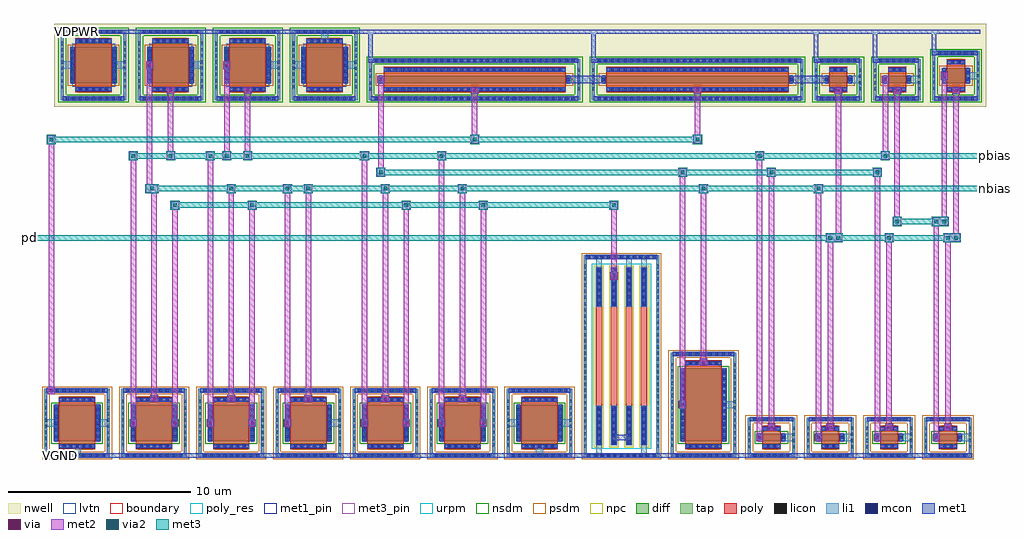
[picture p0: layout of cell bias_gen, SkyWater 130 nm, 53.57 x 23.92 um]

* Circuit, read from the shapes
.subckt bias_gen VDPWR VGND nbias pbias pd
XM1 VGND VGND VGND VGND sky130_fd_pr__nfet_01v8 w=2 l=2 m=2
XM2 sky130_fd_pr__res_xhigh_po_0p35_F43QJC_7/R1_1 nbias pbias VGND sky130_fd_pr__nfet_01v8 w=2 l=2 m=4
XM3 VGND nbias nbias VGND sky130_fd_pr__nfet_01v8 w=2 l=2
XM4 VGND nbias sky130_fd_pr__nfet_01v8_7KUJPP_11/D VGND sky130_fd_pr__nfet_01v8 w=4 l=2
XM5 VGND sky130_fd_pr__nfet_01v8_7KUJPP_11/D pbias VGND sky130_fd_pr__nfet_01v8 w=0.42 l=1
XM6 VGND pd nbias VGND sky130_fd_pr__nfet_01v8 w=0.42 l=1
XM7 VGND pd sky130_fd_pr__nfet_01v8_7KUJPP_11/D VGND sky130_fd_pr__nfet_01v8 w=0.42 l=1
XM8 VGND pd sky130_fd_pr__nfet_01v8_7KUJPP_10/D VGND sky130_fd_pr__nfet_01v8 w=0.42 l=1
XM9 VDPWR VDPWR VDPWR VDPWR sky130_fd_pr__pfet_01v8_lvt w=2 l=2 m=2
XM10 VDPWR pbias nbias VDPWR sky130_fd_pr__pfet_01v8_lvt w=2 l=2
XM11 VDPWR pbias pbias VDPWR sky130_fd_pr__pfet_01v8_lvt w=2 l=2
XM12 sky130_fd_pr__pfet_01v8_AWJHST_18/D VGND sky130_fd_pr__nfet_01v8_7KUJPP_11/D VDPWR sky130_fd_pr__pfet_01v8 w=0.42 l=10
XM13 sky130_fd_pr__pfet_01v8_3Q3RWC_21/D VGND sky130_fd_pr__pfet_01v8_AWJHST_18/D VDPWR sky130_fd_pr__pfet_01v8 w=0.42 l=10
XM14 VDPWR pd sky130_fd_pr__pfet_01v8_3Q3RWC_21/D VDPWR sky130_fd_pr__pfet_01v8 w=0.42 l=1
XM15 VDPWR sky130_fd_pr__nfet_01v8_7KUJPP_10/D pbias VDPWR sky130_fd_pr__pfet_01v8 w=0.42 l=1
XM16 VDPWR pd sky130_fd_pr__nfet_01v8_7KUJPP_10/D VDPWR sky130_fd_pr__pfet_01v8 w=0.84 l=1
XR17 VGND VGND VGND sky130_fd_pr__res_xhigh_po w=0.35 l=5.49 m=2
XR18 sky130_fd_pr__res_xhigh_po_0p35_F43QJC_7/R1_1 sky130_fd_pr__res_xhigh_po_0p35_F43QJC_7/R2_1 VGND sky130_fd_pr__res_xhigh_po w=0.35 l=5.49
XR19 VGND sky130_fd_pr__res_xhigh_po_0p35_F43QJC_7/R2_1 VGND sky130_fd_pr__res_xhigh_po w=0.35 l=5.49
.ends

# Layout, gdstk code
import gdstk
lib = gdstk.Library(unit=1e-6, precision=1e-09)
def R(c, l, rs):  # rectangles x0, y0, x1, y1
    for r in rs: c.add(gdstk.rectangle(r[:2], r[2:], *l))
def A(c, l, x, y, w, h, nx, ny, dx, dy):  # array of equal rectangles
    R(c, l, [(x+i*dx, y+j*dy, x+i*dx+w, y+j*dy+h) for i in range(nx) for j in range(ny)])
nwell = (64, 20)
diff = (65, 20)
tap = (65, 44)
poly_res = (66, 13)
poly = (66, 20)
licon = (66, 44)
li1 = (67, 20)
mcon = (67, 44)
met1_pin = (68, 16)
met1 = (68, 20)
via = (68, 44)
met2 = (69, 20)
via2 = (69, 44)
met3_pin = (70, 16)
met3 = (70, 20)
urpm = (79, 20)
nsdm = (93, 44)
psdm = (94, 20)
npc = (95, 20)
lvtn = (125, 44)
boundary = (235, 4)

sky130_fd_pr__nfet_01v8_ = lib.new_cell('sky130_fd_pr__nfet_01v8_BU9NKT')
R(sky130_fd_pr__nfet_01v8_, diff, [(-1.29,-1,1.29,1)])
R(sky130_fd_pr__nfet_01v8_, tap, [(-1.8,-1.87,1.8,-1.7), (-1.8,-1.7,-1.63,1.7), (1.63,-1.7,1.8,1.7), (-1.8,1.7,1.8,1.87)])
R(sky130_fd_pr__nfet_01v8_, poly, [(-1,-1.44,1,1.44)])
A(sky130_fd_pr__nfet_01v8_, licon, -1.275, -1.87, 0.17, 0.17, 8, 2, 0.34, 3.57)
A(sky130_fd_pr__nfet_01v8_, licon, -0.765, -1.36, 0.17, 0.17, 5, 2, 0.34, 2.55)
A(sky130_fd_pr__nfet_01v8_, licon, -1.8, -1.275, 0.17, 0.17, 1, 8, 0, 0.34)
A(sky130_fd_pr__nfet_01v8_, licon, 1.63, -1.275, 0.17, 0.17, 1, 8, 0, 0.34)
A(sky130_fd_pr__nfet_01v8_, licon, -1.23, -0.935, 0.17, 0.17, 1, 6, 0, 0.34)
A(sky130_fd_pr__nfet_01v8_, licon, 1.06, -0.935, 0.17, 0.17, 1, 6, 0, 0.34)
R(sky130_fd_pr__nfet_01v8_, li1, [(-1.8,-1.87,1.8,-1.7), (-1.8,-1.7,-1.63,1.7), (1.63,-1.7,1.8,1.7), (-1,-1.36,1,-1.19), (-1.23,-1.02,-1.06,1.02), (1.06,-1.02,1.23,1.02), (-1,1.19,1,1.36), (-1.8,1.7,1.8,1.87)])
A(sky130_fd_pr__nfet_01v8_, mcon, -1.525, -1.87, 0.17, 0.17, 9, 2, 0.36, 3.57)
A(sky130_fd_pr__nfet_01v8_, mcon, -0.805, -1.36, 0.17, 0.17, 5, 2, 0.36, 2.55)
A(sky130_fd_pr__nfet_01v8_, mcon, -1.23, -0.805, 0.17, 0.17, 1, 5, 0, 0.36)
A(sky130_fd_pr__nfet_01v8_, mcon, 1.06, -0.805, 0.17, 0.17, 1, 5, 0, 0.36)
R(sky130_fd_pr__nfet_01v8_, met1, [(-1.69,-1.9,1.69,-1.67), (-0.98,-1.39,0.98,-1.16), (-1.26,-1,-1.03,1), (1.03,-1,1.26,1), (-0.98,1.16,0.98,1.39), (-1.69,1.67,1.69,1.9)])
R(sky130_fd_pr__nfet_01v8_, nsdm, [(-1.415,-1.125,1.415,1.125)])
R(sky130_fd_pr__nfet_01v8_, psdm, [(-1.925,-1.995,1.925,-1.575), (-1.925,-1.575,-1.505,1.575), (1.505,-1.575,1.925,1.575), (-1.925,1.575,1.925,1.995)])
R(sky130_fd_pr__nfet_01v8_, npc, [(-0.865,-1.46,0.865,-1.09), (-0.865,1.09,0.865,1.46)])
R(sky130_fd_pr__nfet_01v8_, boundary, [(-1.715,-1.785,1.715,1.785)])
sky130_fd_pr__nfet_01v8_.add(gdstk.Label('B', (0,-1.785), layer=67, texttype=5))
sky130_fd_pr__nfet_01v8_.add(gdstk.Label('D', (-1.145,0), layer=67, texttype=5))
sky130_fd_pr__nfet_01v8_.add(gdstk.Label('S', (1.145,0), layer=67, texttype=5))
sky130_fd_pr__nfet_01v8_.add(gdstk.Label('G', (0,1.275), layer=67, texttype=5))

sky130_fd_pr__res_xhigh_ = lib.new_cell('sky130_fd_pr__res_xhigh_po_0p35_F43QJC')
R(sky130_fd_pr__res_xhigh_, tap, [(-2.07,-5.535,2.07,-5.365), (-2.07,-5.365,-1.9,5.365), (1.9,-5.365,2.07,5.365), (-2.07,5.365,2.07,5.535)])
A(sky130_fd_pr__res_xhigh_, poly_res, -1.42, -2.805, 0.35, 5.61, 4, 1, 0.83, 0)
A(sky130_fd_pr__res_xhigh_, poly, -1.42, -4.885, 0.35, 9.77, 4, 1, 0.83, 0)
A(sky130_fd_pr__res_xhigh_, licon, -1.445, -5.535, 0.17, 0.17, 9, 2, 0.34, 10.9)
A(sky130_fd_pr__res_xhigh_, licon, -2.07, -5.015, 0.17, 0.17, 1, 30, 0, 0.34)
A(sky130_fd_pr__res_xhigh_, licon, 1.9, -5.015, 0.17, 0.17, 1, 30, 0, 0.34)
A(sky130_fd_pr__res_xhigh_, licon, -1.34, -4.805, 0.19, 2, 4, 2, 0.83, 7.61)
A(sky130_fd_pr__res_xhigh_, li1, -1.42, -4.885, 0.35, 2.16, 4, 2, 0.83, 7.61)
R(sky130_fd_pr__res_xhigh_, li1, [(-2.07,-5.535,2.07,-5.365), (-2.07,-5.365,-1.9,5.365), (1.9,-5.365,2.07,5.365), (-2.07,5.365,2.07,5.535)])
A(sky130_fd_pr__res_xhigh_, mcon, -1.885, -5.535, 0.17, 0.17, 11, 2, 0.36, 10.9)
A(sky130_fd_pr__res_xhigh_, mcon, -1.33, -4.79, 0.17, 0.17, 4, 6, 0.83, 0.36)
A(sky130_fd_pr__res_xhigh_, mcon, -1.33, 2.815, 0.17, 0.17, 4, 6, 0.83, 0.36)
A(sky130_fd_pr__res_xhigh_, met1, -1.37, -4.855, 0.25, 2.105, 4, 2, 0.83, 7.605)
R(sky130_fd_pr__res_xhigh_, met1, [(-1.96,-5.565,1.96,-5.335), (-1.96,5.335,1.96,5.565)])
R(sky130_fd_pr__res_xhigh_, urpm, [(-1.62,-5.085,1.62,5.085)])
R(sky130_fd_pr__res_xhigh_, psdm, [(-2.195,-5.66,2.195,5.66)])
A(sky130_fd_pr__res_xhigh_, npc, -1.515, -4.98, 0.54, 9.96, 4, 1, 0.83, 0)
R(sky130_fd_pr__res_xhigh_, boundary, [(-1.985,-5.45,1.985,5.45)])
sky130_fd_pr__res_xhigh_.add(gdstk.Label('B', (0,-5.45), layer=67, texttype=5))
sky130_fd_pr__res_xhigh_.add(gdstk.Label('R1_0', (-1.245,4.71), layer=67, texttype=5))
sky130_fd_pr__res_xhigh_.add(gdstk.Label('R2_0', (-1.245,-4.71), layer=67, texttype=5))
sky130_fd_pr__res_xhigh_.add(gdstk.Label('R1_1', (-0.415,4.71), layer=67, texttype=5))
sky130_fd_pr__res_xhigh_.add(gdstk.Label('R2_1', (-0.415,-4.71), layer=67, texttype=5))
sky130_fd_pr__res_xhigh_.add(gdstk.Label('R1_2', (0.415,4.71), layer=67, texttype=5))
sky130_fd_pr__res_xhigh_.add(gdstk.Label('R2_2', (0.415,-4.71), layer=67, texttype=5))
sky130_fd_pr__res_xhigh_.add(gdstk.Label('R1_3', (1.245,4.71), layer=67, texttype=5))
sky130_fd_pr__res_xhigh_.add(gdstk.Label('R2_3', (1.245,-4.71), layer=67, texttype=5))

c_sky130_fd_pr__nfet_01v8_ = lib.new_cell('sky130_fd_pr__nfet_01v8_SP2VZH')
R(c_sky130_fd_pr__nfet_01v8_, diff, [(-1.29,-2,1.29,2)])
R(c_sky130_fd_pr__nfet_01v8_, tap, [(-1.8,-2.87,1.8,-2.7), (-1.8,-2.7,-1.63,2.7), (1.63,-2.7,1.8,2.7), (-1.8,2.7,1.8,2.87)])
R(c_sky130_fd_pr__nfet_01v8_, poly, [(-1,-2.44,1,2.44)])
A(c_sky130_fd_pr__nfet_01v8_, licon, -1.275, -2.87, 0.17, 0.17, 8, 2, 0.34, 5.57)
A(c_sky130_fd_pr__nfet_01v8_, licon, -0.765, -2.36, 0.17, 0.17, 5, 2, 0.34, 4.55)
A(c_sky130_fd_pr__nfet_01v8_, licon, -1.8, -2.295, 0.17, 0.17, 1, 14, 0, 0.34)
A(c_sky130_fd_pr__nfet_01v8_, licon, 1.63, -2.295, 0.17, 0.17, 1, 14, 0, 0.34)
A(c_sky130_fd_pr__nfet_01v8_, licon, -1.23, -1.785, 0.17, 0.17, 1, 11, 0, 0.34)
A(c_sky130_fd_pr__nfet_01v8_, licon, 1.06, -1.785, 0.17, 0.17, 1, 11, 0, 0.34)
R(c_sky130_fd_pr__nfet_01v8_, li1, [(-1.8,-2.87,1.8,-2.7), (-1.8,-2.7,-1.63,2.7), (1.63,-2.7,1.8,2.7), (-1,-2.36,1,-2.19), (-1.23,-2.02,-1.06,2.02), (1.06,-2.02,1.23,2.02), (-1,2.19,1,2.36), (-1.8,2.7,1.8,2.87)])
A(c_sky130_fd_pr__nfet_01v8_, mcon, -1.525, -2.87, 0.17, 0.17, 9, 2, 0.36, 5.57)
A(c_sky130_fd_pr__nfet_01v8_, mcon, -0.805, -2.36, 0.17, 0.17, 5, 2, 0.36, 4.55)
A(c_sky130_fd_pr__nfet_01v8_, mcon, -1.23, -1.885, 0.17, 0.17, 1, 11, 0, 0.36)
A(c_sky130_fd_pr__nfet_01v8_, mcon, 1.06, -1.885, 0.17, 0.17, 1, 11, 0, 0.36)
R(c_sky130_fd_pr__nfet_01v8_, met1, [(-1.69,-2.9,1.69,-2.67), (-0.98,-2.39,0.98,-2.16), (-1.26,-2,-1.03,2), (1.03,-2,1.26,2), (-0.98,2.16,0.98,2.39), (-1.69,2.67,1.69,2.9)])
R(c_sky130_fd_pr__nfet_01v8_, nsdm, [(-1.415,-2.125,1.415,2.125)])
R(c_sky130_fd_pr__nfet_01v8_, psdm, [(-1.925,-2.995,1.925,-2.575), (-1.925,-2.575,-1.505,2.575), (1.505,-2.575,1.925,2.575), (-1.925,2.575,1.925,2.995)])
R(c_sky130_fd_pr__nfet_01v8_, npc, [(-0.865,-2.46,0.865,-2.09), (-0.865,2.09,0.865,2.46)])
R(c_sky130_fd_pr__nfet_01v8_, boundary, [(-1.715,-2.785,1.715,2.785)])
c_sky130_fd_pr__nfet_01v8_.add(gdstk.Label('B', (0,-2.785), layer=67, texttype=5))
c_sky130_fd_pr__nfet_01v8_.add(gdstk.Label('D', (-1.145,0), layer=67, texttype=5))
c_sky130_fd_pr__nfet_01v8_.add(gdstk.Label('S', (1.145,0), layer=67, texttype=5))
c_sky130_fd_pr__nfet_01v8_.add(gdstk.Label('G', (0,2.275), layer=67, texttype=5))

c_sky130_fd_pr__nfet_01v8__ = lib.new_cell('sky130_fd_pr__nfet_01v8_7KUJPP')
R(c_sky130_fd_pr__nfet_01v8__, diff, [(-0.79,-0.21,0.79,0.21)])
R(c_sky130_fd_pr__nfet_01v8__, tap, [(-1.3,-1.08,1.3,-0.91), (-1.3,-0.91,-1.13,0.91), (1.13,-0.91,1.3,0.91), (-1.3,0.91,1.3,1.08)])
R(c_sky130_fd_pr__nfet_01v8__, poly, [(-0.5,-0.65,0.5,0.65)])
A(c_sky130_fd_pr__nfet_01v8__, licon, -0.765, -1.08, 0.17, 0.17, 5, 2, 0.34, 1.99)
A(c_sky130_fd_pr__nfet_01v8__, licon, -1.3, -0.595, 0.17, 0.17, 1, 4, 0, 0.34)
A(c_sky130_fd_pr__nfet_01v8__, licon, 1.13, -0.595, 0.17, 0.17, 1, 4, 0, 0.34)
R(c_sky130_fd_pr__nfet_01v8__, licon, [(-0.255,-0.57,-0.085,-0.4), (0.085,-0.57,0.255,-0.4), (-0.73,-0.085,-0.56,0.085), (0.56,-0.085,0.73,0.085), (-0.255,0.4,-0.085,0.57), (0.085,0.4,0.255,0.57)])
R(c_sky130_fd_pr__nfet_01v8__, li1, [(-1.3,-1.08,1.3,-0.91), (-1.3,-0.91,-1.13,0.91), (1.13,-0.91,1.3,0.91), (-0.5,-0.57,0.5,-0.4), (-0.73,-0.23,-0.56,0.23), (0.56,-0.23,0.73,0.23), (-0.5,0.4,0.5,0.57), (-1.3,0.91,1.3,1.08)])
A(c_sky130_fd_pr__nfet_01v8__, mcon, -0.985, -1.08, 0.17, 0.17, 6, 2, 0.36, 1.99)
R(c_sky130_fd_pr__nfet_01v8__, mcon, [(-0.265,-0.57,-0.095,-0.4), (0.095,-0.57,0.265,-0.4), (-0.73,-0.085,-0.56,0.085), (0.56,-0.085,0.73,0.085), (-0.265,0.4,-0.095,0.57), (0.095,0.4,0.265,0.57)])
R(c_sky130_fd_pr__nfet_01v8__, met1, [(-1.19,-1.11,1.19,-0.88), (-0.48,-0.6,0.48,-0.37), (-0.76,-0.21,-0.53,0.21), (0.53,-0.21,0.76,0.21), (-0.48,0.37,0.48,0.6), (-1.19,0.88,1.19,1.11)])
R(c_sky130_fd_pr__nfet_01v8__, nsdm, [(-0.915,-0.335,0.915,0.335)])
R(c_sky130_fd_pr__nfet_01v8__, psdm, [(-1.425,-1.205,1.425,-0.785), (-1.425,-0.785,-1.005,0.785), (1.005,-0.785,1.425,0.785), (-1.425,0.785,1.425,1.205)])
R(c_sky130_fd_pr__nfet_01v8__, npc, [(-0.355,-0.67,0.355,-0.3), (-0.355,0.3,0.355,0.67)])
R(c_sky130_fd_pr__nfet_01v8__, boundary, [(-1.215,-0.995,1.215,0.995)])
c_sky130_fd_pr__nfet_01v8__.add(gdstk.Label('B', (0,-0.995), layer=67, texttype=5))
c_sky130_fd_pr__nfet_01v8__.add(gdstk.Label('D', (-0.645,0), layer=67, texttype=5))
c_sky130_fd_pr__nfet_01v8__.add(gdstk.Label('S', (0.645,0), layer=67, texttype=5))
c_sky130_fd_pr__nfet_01v8__.add(gdstk.Label('G', (0,0.485), layer=67, texttype=5))

sky130_fd_pr__pfet_01v8_ = lib.new_cell('sky130_fd_pr__pfet_01v8_lvt_TFSLRA')
R(sky130_fd_pr__pfet_01v8_, nwell, [(-1.98,-2.095,1.98,2.095)])
R(sky130_fd_pr__pfet_01v8_, diff, [(-1.29,-1,1.29,1)])
R(sky130_fd_pr__pfet_01v8_, tap, [(-1.8,-1.915,1.8,-1.745), (-1.8,-1.745,-1.63,1.745), (1.63,-1.745,1.8,1.745), (-1.8,1.745,1.8,1.915)])
R(sky130_fd_pr__pfet_01v8_, poly, [(-1,-1.485,1,1.485)])
A(sky130_fd_pr__pfet_01v8_, licon, -1.275, -1.915, 0.17, 0.17, 8, 2, 0.34, 3.66)
A(sky130_fd_pr__pfet_01v8_, licon, -0.765, -1.405, 0.17, 0.17, 5, 2, 0.34, 2.64)
A(sky130_fd_pr__pfet_01v8_, licon, -1.8, -1.275, 0.17, 0.17, 1, 8, 0, 0.34)
A(sky130_fd_pr__pfet_01v8_, licon, 1.63, -1.275, 0.17, 0.17, 1, 8, 0, 0.34)
A(sky130_fd_pr__pfet_01v8_, licon, -1.23, -0.935, 0.17, 0.17, 1, 6, 0, 0.34)
A(sky130_fd_pr__pfet_01v8_, licon, 1.06, -0.935, 0.17, 0.17, 1, 6, 0, 0.34)
R(sky130_fd_pr__pfet_01v8_, li1, [(-1.8,-1.915,1.8,-1.745), (-1.8,-1.745,-1.63,1.745), (1.63,-1.745,1.8,1.745), (-1,-1.405,1,-1.235), (-1.23,-1.02,-1.06,1.02), (1.06,-1.02,1.23,1.02), (-1,1.235,1,1.405), (-1.8,1.745,1.8,1.915)])
A(sky130_fd_pr__pfet_01v8_, mcon, -1.525, -1.915, 0.17, 0.17, 9, 2, 0.36, 3.66)
A(sky130_fd_pr__pfet_01v8_, mcon, -0.805, -1.405, 0.17, 0.17, 5, 2, 0.36, 2.64)
A(sky130_fd_pr__pfet_01v8_, mcon, -1.23, -0.805, 0.17, 0.17, 1, 5, 0, 0.36)
A(sky130_fd_pr__pfet_01v8_, mcon, 1.06, -0.805, 0.17, 0.17, 1, 5, 0, 0.36)
R(sky130_fd_pr__pfet_01v8_, met1, [(-1.69,-1.945,1.69,-1.715), (-0.98,-1.435,0.98,-1.205), (-1.26,-1,-1.03,1), (1.03,-1,1.26,1), (-0.98,1.205,0.98,1.435), (-1.69,1.715,1.69,1.945)])
R(sky130_fd_pr__pfet_01v8_, nsdm, [(-1.925,-2.04,1.925,-1.62), (-1.925,-1.62,-1.505,1.62), (1.505,-1.62,1.925,1.62), (-1.925,1.62,1.925,2.04)])
R(sky130_fd_pr__pfet_01v8_, psdm, [(-1.415,-1.125,1.415,1.125)])
R(sky130_fd_pr__pfet_01v8_, npc, [(-0.865,-1.505,0.865,-1.135), (-0.865,1.135,0.865,1.505)])
R(sky130_fd_pr__pfet_01v8_, lvtn, [(-1.18,-1.18,1.18,1.18)])
R(sky130_fd_pr__pfet_01v8_, boundary, [(-1.715,-1.83,1.715,1.83)])
sky130_fd_pr__pfet_01v8_.add(gdstk.Label('B', (0,-1.83), layer=67, texttype=5))
sky130_fd_pr__pfet_01v8_.add(gdstk.Label('D', (-1.145,0), layer=67, texttype=5))
sky130_fd_pr__pfet_01v8_.add(gdstk.Label('S', (1.145,0), layer=67, texttype=5))
sky130_fd_pr__pfet_01v8_.add(gdstk.Label('G', (0,1.32), layer=67, texttype=5))

c_sky130_fd_pr__pfet_01v8_ = lib.new_cell('sky130_fd_pr__pfet_01v8_AWJHST')
R(c_sky130_fd_pr__pfet_01v8_, nwell, [(-5.98,-1.305,5.98,1.305)])
R(c_sky130_fd_pr__pfet_01v8_, diff, [(-5.29,-0.21,5.29,0.21)])
R(c_sky130_fd_pr__pfet_01v8_, tap, [(-5.8,-1.125,5.8,-0.955), (-5.8,-0.955,-5.63,0.955), (5.63,-0.955,5.8,0.955), (-5.8,0.955,5.8,1.125)])
R(c_sky130_fd_pr__pfet_01v8_, poly, [(-5,-0.695,5,0.695)])
A(c_sky130_fd_pr__pfet_01v8_, licon, -5.185, -1.125, 0.17, 0.17, 31, 2, 0.34, 2.08)
A(c_sky130_fd_pr__pfet_01v8_, licon, -4.845, -0.615, 0.17, 0.17, 29, 2, 0.34, 1.06)
A(c_sky130_fd_pr__pfet_01v8_, licon, -5.8, -0.595, 0.17, 0.17, 1, 4, 0, 0.34)
A(c_sky130_fd_pr__pfet_01v8_, licon, 5.63, -0.595, 0.17, 0.17, 1, 4, 0, 0.34)
R(c_sky130_fd_pr__pfet_01v8_, licon, [(-5.23,-0.085,-5.06,0.085), (5.06,-0.085,5.23,0.085)])
R(c_sky130_fd_pr__pfet_01v8_, li1, [(-5.8,-1.125,5.8,-0.955), (-5.8,-0.955,-5.63,0.955), (5.63,-0.955,5.8,0.955), (-5,-0.615,5,-0.445), (-5.23,-0.23,-5.06,0.23), (5.06,-0.23,5.23,0.23), (-5,0.445,5,0.615), (-5.8,0.955,5.8,1.125)])
A(c_sky130_fd_pr__pfet_01v8_, mcon, -5.485, -1.125, 0.17, 0.17, 31, 2, 0.36, 2.08)
A(c_sky130_fd_pr__pfet_01v8_, mcon, -4.765, -0.615, 0.17, 0.17, 27, 2, 0.36, 1.06)
R(c_sky130_fd_pr__pfet_01v8_, mcon, [(-5.23,-0.085,-5.06,0.085), (5.06,-0.085,5.23,0.085)])
R(c_sky130_fd_pr__pfet_01v8_, met1, [(-5.69,-1.155,5.69,-0.925), (-4.98,-0.645,4.98,-0.415), (-5.26,-0.21,-5.03,0.21), (5.03,-0.21,5.26,0.21), (-4.98,0.415,4.98,0.645), (-5.69,0.925,5.69,1.155)])
R(c_sky130_fd_pr__pfet_01v8_, nsdm, [(-5.925,-1.25,5.925,-0.83), (-5.925,-0.83,-5.505,0.83), (5.505,-0.83,5.925,0.83), (-5.925,0.83,5.925,1.25)])
R(c_sky130_fd_pr__pfet_01v8_, psdm, [(-5.415,-0.335,5.415,0.335)])
R(c_sky130_fd_pr__pfet_01v8_, npc, [(-4.945,-0.715,4.945,-0.345), (-4.945,0.345,4.945,0.715)])
R(c_sky130_fd_pr__pfet_01v8_, boundary, [(-5.715,-1.04,5.715,1.04)])
c_sky130_fd_pr__pfet_01v8_.add(gdstk.Label('B', (0,-1.04), layer=67, texttype=5))
c_sky130_fd_pr__pfet_01v8_.add(gdstk.Label('D', (-5.145,0), layer=67, texttype=5))
c_sky130_fd_pr__pfet_01v8_.add(gdstk.Label('S', (5.145,0), layer=67, texttype=5))
c_sky130_fd_pr__pfet_01v8_.add(gdstk.Label('G', (0,0.53), layer=67, texttype=5))

c_sky130_fd_pr__pfet_01v8__ = lib.new_cell('sky130_fd_pr__pfet_01v8_2QBUWK')
R(c_sky130_fd_pr__pfet_01v8__, nwell, [(-1.48,-1.515,1.48,1.515)])
R(c_sky130_fd_pr__pfet_01v8__, diff, [(-0.79,-0.42,0.79,0.42)])
R(c_sky130_fd_pr__pfet_01v8__, tap, [(-1.3,-1.335,1.3,-1.165), (-1.3,-1.165,-1.13,1.165), (1.13,-1.165,1.3,1.165), (-1.3,1.165,1.3,1.335)])
R(c_sky130_fd_pr__pfet_01v8__, poly, [(-0.5,-0.905,0.5,0.905)])
A(c_sky130_fd_pr__pfet_01v8__, licon, -0.765, -1.335, 0.17, 0.17, 5, 2, 0.34, 2.5)
A(c_sky130_fd_pr__pfet_01v8__, licon, -1.3, -0.765, 0.17, 0.17, 1, 5, 0, 0.34)
A(c_sky130_fd_pr__pfet_01v8__, licon, 1.13, -0.765, 0.17, 0.17, 1, 5, 0, 0.34)
R(c_sky130_fd_pr__pfet_01v8__, licon, [(-0.255,-0.825,-0.085,-0.655), (0.085,-0.825,0.255,-0.655), (-0.73,-0.255,-0.56,-0.085), (0.56,-0.255,0.73,-0.085), (-0.73,0.085,-0.56,0.255), (0.56,0.085,0.73,0.255), (-0.255,0.655,-0.085,0.825), (0.085,0.655,0.255,0.825)])
R(c_sky130_fd_pr__pfet_01v8__, li1, [(-1.3,-1.335,1.3,-1.165), (-1.3,-1.165,-1.13,1.165), (1.13,-1.165,1.3,1.165), (-0.5,-0.825,0.5,-0.655), (-0.73,-0.44,-0.56,0.44), (0.56,-0.44,0.73,0.44), (-0.5,0.655,0.5,0.825), (-1.3,1.165,1.3,1.335)])
A(c_sky130_fd_pr__pfet_01v8__, mcon, -0.985, -1.335, 0.17, 0.17, 6, 2, 0.36, 2.5)
R(c_sky130_fd_pr__pfet_01v8__, mcon, [(-0.265,-0.825,-0.095,-0.655), (0.095,-0.825,0.265,-0.655), (-0.73,-0.265,-0.56,-0.095), (0.56,-0.265,0.73,-0.095), (-0.73,0.095,-0.56,0.265), (0.56,0.095,0.73,0.265), (-0.265,0.655,-0.095,0.825), (0.095,0.655,0.265,0.825)])
R(c_sky130_fd_pr__pfet_01v8__, met1, [(-1.19,-1.365,1.19,-1.135), (-0.48,-0.855,0.48,-0.625), (-0.76,-0.42,-0.53,0.42), (0.53,-0.42,0.76,0.42), (-0.48,0.625,0.48,0.855), (-1.19,1.135,1.19,1.365)])
R(c_sky130_fd_pr__pfet_01v8__, nsdm, [(-1.425,-1.46,1.425,-1.04), (-1.425,-1.04,-1.005,1.04), (1.005,-1.04,1.425,1.04), (-1.425,1.04,1.425,1.46)])
R(c_sky130_fd_pr__pfet_01v8__, psdm, [(-0.915,-0.545,0.915,0.545)])
R(c_sky130_fd_pr__pfet_01v8__, npc, [(-0.355,-0.925,0.355,-0.555), (-0.355,0.555,0.355,0.925)])
R(c_sky130_fd_pr__pfet_01v8__, boundary, [(-1.215,-1.25,1.215,1.25)])
c_sky130_fd_pr__pfet_01v8__.add(gdstk.Label('B', (0,-1.25), layer=67, texttype=5))
c_sky130_fd_pr__pfet_01v8__.add(gdstk.Label('D', (-0.645,0), layer=67, texttype=5))
c_sky130_fd_pr__pfet_01v8__.add(gdstk.Label('S', (0.645,0), layer=67, texttype=5))
c_sky130_fd_pr__pfet_01v8__.add(gdstk.Label('G', (0,0.74), layer=67, texttype=5))

c_sky130_fd_pr__pfet_01v8___ = lib.new_cell('sky130_fd_pr__pfet_01v8_3Q3RWC')
R(c_sky130_fd_pr__pfet_01v8___, nwell, [(-1.48,-1.305,1.48,1.305)])
R(c_sky130_fd_pr__pfet_01v8___, diff, [(-0.79,-0.21,0.79,0.21)])
R(c_sky130_fd_pr__pfet_01v8___, tap, [(-1.3,-1.125,1.3,-0.955), (-1.3,-0.955,-1.13,0.955), (1.13,-0.955,1.3,0.955), (-1.3,0.955,1.3,1.125)])
R(c_sky130_fd_pr__pfet_01v8___, poly, [(-0.5,-0.695,0.5,0.695)])
A(c_sky130_fd_pr__pfet_01v8___, licon, -0.765, -1.125, 0.17, 0.17, 5, 2, 0.34, 2.08)
A(c_sky130_fd_pr__pfet_01v8___, licon, -1.3, -0.595, 0.17, 0.17, 1, 4, 0, 0.34)
A(c_sky130_fd_pr__pfet_01v8___, licon, 1.13, -0.595, 0.17, 0.17, 1, 4, 0, 0.34)
R(c_sky130_fd_pr__pfet_01v8___, licon, [(-0.255,-0.615,-0.085,-0.445), (0.085,-0.615,0.255,-0.445), (-0.73,-0.085,-0.56,0.085), (0.56,-0.085,0.73,0.085), (-0.255,0.445,-0.085,0.615), (0.085,0.445,0.255,0.615)])
R(c_sky130_fd_pr__pfet_01v8___, li1, [(-1.3,-1.125,1.3,-0.955), (-1.3,-0.955,-1.13,0.955), (1.13,-0.955,1.3,0.955), (-0.5,-0.615,0.5,-0.445), (-0.73,-0.23,-0.56,0.23), (0.56,-0.23,0.73,0.23), (-0.5,0.445,0.5,0.615), (-1.3,0.955,1.3,1.125)])
A(c_sky130_fd_pr__pfet_01v8___, mcon, -0.985, -1.125, 0.17, 0.17, 6, 2, 0.36, 2.08)
R(c_sky130_fd_pr__pfet_01v8___, mcon, [(-0.265,-0.615,-0.095,-0.445), (0.095,-0.615,0.265,-0.445), (-0.73,-0.085,-0.56,0.085), (0.56,-0.085,0.73,0.085), (-0.265,0.445,-0.095,0.615), (0.095,0.445,0.265,0.615)])
R(c_sky130_fd_pr__pfet_01v8___, met1, [(-1.19,-1.155,1.19,-0.925), (-0.48,-0.645,0.48,-0.415), (-0.76,-0.21,-0.53,0.21), (0.53,-0.21,0.76,0.21), (-0.48,0.415,0.48,0.645), (-1.19,0.925,1.19,1.155)])
R(c_sky130_fd_pr__pfet_01v8___, nsdm, [(-1.425,-1.25,1.425,-0.83), (-1.425,-0.83,-1.005,0.83), (1.005,-0.83,1.425,0.83), (-1.425,0.83,1.425,1.25)])
R(c_sky130_fd_pr__pfet_01v8___, psdm, [(-0.915,-0.335,0.915,0.335)])
R(c_sky130_fd_pr__pfet_01v8___, npc, [(-0.355,-0.715,0.355,-0.345), (-0.355,0.345,0.355,0.715)])
R(c_sky130_fd_pr__pfet_01v8___, boundary, [(-1.215,-1.04,1.215,1.04)])
c_sky130_fd_pr__pfet_01v8___.add(gdstk.Label('B', (0,-1.04), layer=67, texttype=5))
c_sky130_fd_pr__pfet_01v8___.add(gdstk.Label('D', (-0.645,0), layer=67, texttype=5))
c_sky130_fd_pr__pfet_01v8___.add(gdstk.Label('S', (0.645,0), layer=67, texttype=5))
c_sky130_fd_pr__pfet_01v8___.add(gdstk.Label('G', (0,0.53), layer=67, texttype=5))

bias_gen = lib.new_cell('bias_gen')
R(bias_gen, nwell, [(0.45,19.15,51.62,23.71)])
A(bias_gen, li1, 40.385, 0.795, 0.74, 0.4, 4, 1, 3.23, 0)
A(bias_gen, li1, 3.675, 21.23, 0.74, 0.4, 3, 1, 4.23, 0)
R(bias_gen, li1, [(1.515,-0.085,1.915,0.51), (26.895,-0.085,27.295,0.51), (30.2,-0.085,30.5,1.04), (32.69,-0.085,32.99,1.04), (-0.085,1.585,0.655,1.985), (2.775,1.585,3.515,1.985), (15.465,1.585,16.205,1.985), (25.295,1.585,26.035,1.985), (28.155,1.585,28.895,1.985), (37.155,2.585,37.895,2.985), (31.86,9.765,32.16,10.985), (30.2,9.86,30.5,10.985), (32.69,9.86,32.99,10.985), (44.055,20.44,44.795,20.84), (47.285,20.44,48.025,20.84), (50.515,20.65,51.255,21.05), (0.815,21.23,1.555,21.63), (13.505,21.23,14.245,21.63), (16.365,21.23,17.105,21.63), (2.415,22.75,2.815,23.345), (15.105,22.75,15.505,23.345)])
R(bias_gen, met1_pin, [(0.3,-0.1,1.3,0.1), (1.2,23.16,2.2,23.36)])
A(bias_gen, met1, 38.995, 0.78, 0.37, 0.43, 4, 1, 3.23, 0)
A(bias_gen, met1, 39.61, 1.365, 0.43, 0.37, 4, 1, 3.23, 0)
A(bias_gen, met1, 5.73, 2.945, 0.43, 0.37, 5, 1, 4.23, 0)
A(bias_gen, met1, 43.28, 19.855, 0.43, 0.37, 3, 1, 3.23, 0)
A(bias_gen, met1, 17.7, 21.56, 0.24, 1.58, 3, 1, 12.23, 0)
R(bias_gen, met1, [(-0.12,-0.12,50.85,0.12), (31.055,0.85,32.135,1.15), (4.615,1.57,4.985,2), (6.905,1.57,7.275,2), (8.845,1.57,9.215,2), (11.135,1.57,11.505,2), (13.075,1.57,13.445,2), (17.305,1.57,17.675,2), (19.595,1.57,19.965,2), (21.535,1.57,21.905,2), (23.825,1.57,24.195,2), (34.765,2.57,35.135,3), (0.115,3.355,0.485,3.785), (35.88,4.945,36.31,5.315), (30.995,9.635,31.365,10.065), (6.63,19.855,7.06,20.225), (10.86,19.855,11.29,20.225), (23.32,19.855,23.75,20.225), (35.55,19.855,35.98,20.225), (18.205,20.425,18.575,20.855), (45.895,20.425,46.265,20.855), (28.56,20.44,30.74,20.84), (40.79,20.44,42.97,20.84), (49.125,20.635,49.495,21.065), (5.515,21.215,5.885,21.645), (9.745,21.215,10.115,21.645), (45.39,21.56,45.63,23.14), (48.62,21.98,48.86,23.14), (0.78,23.14,51.29,23.38)])
A(bias_gen, via, 39.105, 0.92, 0.15, 0.15, 4, 1, 3.23, 0)
A(bias_gen, via, 39.75, 1.475, 0.15, 0.15, 4, 1, 3.23, 0)
A(bias_gen, via, 5.87, 3.055, 0.15, 0.15, 5, 1, 4.23, 0)
A(bias_gen, via, 43.42, 19.965, 0.15, 0.15, 3, 1, 3.23, 0)
R(bias_gen, via, [(4.725,1.71,4.875,1.86), (7.015,1.71,7.165,1.86), (8.955,1.71,9.105,1.86), (11.245,1.71,11.395,1.86), (13.185,1.71,13.335,1.86), (17.415,1.71,17.565,1.86), (19.705,1.71,19.855,1.86), (21.645,1.71,21.795,1.86), (23.935,1.71,24.085,1.86), (34.875,2.71,35.025,2.86), (0.225,3.495,0.375,3.645), (36.02,5.055,36.17,5.205), (31.105,9.775,31.255,9.925), (6.77,19.965,6.92,20.115), (11,19.965,11.15,20.115), (23.46,19.965,23.61,20.115), (35.69,19.965,35.84,20.115), (18.315,20.565,18.465,20.715), (46.005,20.565,46.155,20.715), (49.235,20.775,49.385,20.925), (5.625,21.355,5.775,21.505), (9.855,21.355,10.005,21.505)])
A(bias_gen, met2, 38.98, 0.795, 0.4, 0.4, 4, 1, 3.23, 0)
A(bias_gen, met2, 39.625, 1.35, 0.4, 0.4, 4, 1, 3.23, 0)
A(bias_gen, met2, 42.905, 1.75, 0.3, 9.98, 3, 1, 3.23, 0)
A(bias_gen, met2, 5.745, 2.93, 0.4, 0.4, 5, 1, 4.23, 0)
A(bias_gen, met2, 5.795, 3.33, 0.3, 11.1, 5, 1, 4.23, 0)
A(bias_gen, met2, 14.185, 14.43, 0.44, 0.44, 3, 1, 4.23, 0)
A(bias_gen, met2, 43.295, 19.84, 0.4, 0.4, 3, 1, 3.23, 0)
R(bias_gen, met2, [(39.03,1.195,39.33,16.23), (42.26,1.195,42.56,14.43), (45.49,1.195,45.79,15.33), (48.72,1.195,49.02,12.63), (4.6,1.585,5,1.985), (6.89,1.585,7.29,1.985), (8.83,1.585,9.23,1.985), (11.12,1.585,11.52,1.985), (13.06,1.585,13.46,1.985), (17.29,1.585,17.69,1.985), (19.58,1.585,19.98,1.985), (21.52,1.585,21.92,1.985), (23.81,1.585,24.21,1.985), (39.675,1.75,39.975,15.33), (4.65,1.985,4.95,16.23), (6.94,1.985,7.24,13.53), (8.88,1.985,9.18,16.23), (11.17,1.985,11.47,13.53), (13.11,1.985,13.41,14.43), (17.34,1.985,17.64,16.23), (19.63,1.985,19.93,13.53), (21.57,1.985,21.87,16.23), (23.86,1.985,24.16,13.53), (34.75,2.585,35.15,2.985), (34.8,2.985,35.1,15.33), (0.1,3.37,0.5,3.77), (0.15,3.77,0.45,17.13), (35.895,4.93,36.295,5.33), (35.945,5.33,36.245,14.43), (30.98,9.65,31.38,10.05), (31.03,10.05,31.33,13.53), (42.835,11.73,43.715,12.17), (46.065,11.73,46.505,12.17), (49.295,11.73,50.175,12.17), (43.345,12.17,43.645,19.84), (49.805,12.17,50.105,19.84), (46.505,12.63,46.945,13.07), (48.65,12.63,49.53,13.07), (46.575,13.07,46.875,19.84), (49.16,13.07,49.46,20.65), (6.87,13.53,7.31,13.97), (11.1,13.53,11.54,13.97), (19.56,13.53,20,13.97), (23.79,13.53,24.23,13.97), (30.96,13.53,31.4,13.97), (5.48,14.43,6.165,14.87), (9.955,14.43,10.395,14.87), (13.04,14.43,13.48,14.87), (35.875,14.43,36.315,14.87), (42.19,14.43,42.63,14.87), (5.55,14.87,5.85,21.23), (18.17,15.33,18.61,15.77), (34.73,15.33,35.17,15.77), (39.605,15.33,40.045,15.77), (45.42,15.33,45.86,15.77), (18.24,15.77,18.54,20.44), (4.58,16.23,5.02,16.67), (6.625,16.23,7.065,16.67), (8.81,16.23,9.25,16.67), (9.71,16.23,10.15,16.67), (10.855,16.23,11.295,16.67), (17.27,16.23,17.71,16.67), (21.5,16.23,21.94,16.67), (38.96,16.23,39.4,16.67), (45.86,16.23,46.3,16.67), (6.695,16.67,6.995,19.84), (9.78,16.67,10.08,21.23), (10.925,16.67,11.225,19.84), (45.93,16.67,46.23,20.44), (0.08,17.13,0.52,17.57), (23.315,17.13,23.755,17.57), (35.545,17.13,35.985,17.57), (23.385,17.57,23.685,19.84), (35.615,17.57,35.915,19.84), (6.645,19.84,7.045,20.24), (10.875,19.84,11.275,20.24), (23.335,19.84,23.735,20.24), (35.565,19.84,35.965,20.24), (18.19,20.44,18.59,20.84), (45.88,20.44,46.28,20.84), (49.11,20.65,49.51,21.05), (5.5,21.23,5.9,21.63), (9.73,21.23,10.13,21.63)])
A(bias_gen, via2, 14.305, 14.55, 0.2, 0.2, 3, 1, 4.23, 0)
R(bias_gen, via2, [(42.955,11.85,43.155,12.05), (43.395,11.85,43.595,12.05), (46.185,11.85,46.385,12.05), (49.415,11.85,49.615,12.05), (49.855,11.85,50.055,12.05), (46.625,12.75,46.825,12.95), (48.77,12.75,48.97,12.95), (49.21,12.75,49.41,12.95), (6.99,13.65,7.19,13.85), (11.22,13.65,11.42,13.85), (19.68,13.65,19.88,13.85), (23.91,13.65,24.11,13.85), (31.08,13.65,31.28,13.85), (5.72,14.55,5.92,14.75), (10.075,14.55,10.275,14.75), (13.16,14.55,13.36,14.75), (35.995,14.55,36.195,14.75), (42.31,14.55,42.51,14.75), (18.29,15.45,18.49,15.65), (34.85,15.45,35.05,15.65), (39.725,15.45,39.925,15.65), (45.54,15.45,45.74,15.65), (4.7,16.35,4.9,16.55), (6.745,16.35,6.945,16.55), (8.93,16.35,9.13,16.55), (9.83,16.35,10.03,16.55), (10.975,16.35,11.175,16.55), (17.39,16.35,17.59,16.55), (21.62,16.35,21.82,16.55), (39.08,16.35,39.28,16.55), (45.98,16.35,46.18,16.55), (0.2,17.25,0.4,17.45), (23.435,17.25,23.635,17.45), (35.665,17.25,35.865,17.45)])
R(bias_gen, met3_pin, [(-1.2,11.8,-0.6,12.1), (51.77,14.5,52.37,14.8), (51.77,16.3,52.37,16.6)])
A(bias_gen, met3, 14.155, 14.4, 0.5, 0.1, 3, 2, 4.23, 0.4)
R(bias_gen, met3, [(42.805,11.7,43.745,11.8), (46.035,11.7,46.535,11.8), (49.265,11.7,50.205,11.8), (-1.2,11.8,50.205,12.1), (42.805,12.1,43.745,12.2), (46.035,12.1,46.535,12.2), (49.265,12.1,50.205,12.2), (46.475,12.6,46.975,12.7), (48.62,12.6,49.56,12.7), (46.475,12.7,49.56,13), (46.475,13,46.975,13.1), (48.62,13,49.56,13.1), (6.84,13.5,7.34,13.6), (11.07,13.5,11.57,13.6), (19.53,13.5,20.03,13.6), (23.76,13.5,24.26,13.6), (30.93,13.5,31.43,13.6), (6.84,13.6,31.43,13.9), (6.84,13.9,7.34,14), (11.07,13.9,11.57,14), (19.53,13.9,20.03,14), (23.76,13.9,24.26,14), (30.93,13.9,31.43,14), (5.45,14.4,6.195,14.5), (9.925,14.4,10.425,14.5), (13.01,14.4,13.51,14.5), (35.845,14.4,36.345,14.5), (42.16,14.4,42.66,14.5), (5.45,14.5,52.37,14.8), (5.45,14.8,6.195,14.9), (9.925,14.8,10.425,14.9), (13.01,14.8,13.51,14.9), (35.845,14.8,36.345,14.9), (42.16,14.8,42.66,14.9), (18.14,15.3,18.64,15.4), (34.7,15.3,35.2,15.4), (39.575,15.3,40.075,15.4), (45.39,15.3,45.89,15.4), (18.14,15.4,45.89,15.7), (18.14,15.7,18.64,15.8), (34.7,15.7,35.2,15.8), (39.575,15.7,40.075,15.8), (45.39,15.7,45.89,15.8), (4.55,16.2,5.05,16.3), (6.595,16.2,7.095,16.3), (8.78,16.2,9.28,16.3), (9.68,16.2,10.18,16.3), (10.825,16.2,11.325,16.3), (17.24,16.2,17.74,16.3), (21.47,16.2,21.97,16.3), (38.93,16.2,39.43,16.3), (45.83,16.2,46.33,16.3), (4.55,16.3,52.37,16.6), (4.55,16.6,5.05,16.7), (6.595,16.6,7.095,16.7), (8.78,16.6,9.28,16.7), (9.68,16.6,10.18,16.7), (10.825,16.6,11.325,16.7), (17.24,16.6,17.74,16.7), (21.47,16.6,21.97,16.7), (38.93,16.6,39.43,16.7), (45.83,16.6,46.33,16.7), (0.05,17.1,0.55,17.2), (23.285,17.1,23.785,17.2), (35.515,17.1,36.015,17.2), (0.05,17.2,36.015,17.5), (0.05,17.5,0.55,17.6), (23.285,17.5,23.785,17.6), (35.515,17.5,36.015,17.6)])
bias_gen.add(gdstk.Reference(sky130_fd_pr__nfet_01v8_, (1.715,1.785)))
bias_gen.add(gdstk.Reference(sky130_fd_pr__nfet_01v8_, (5.945,1.785)))
bias_gen.add(gdstk.Reference(sky130_fd_pr__nfet_01v8_, (10.175,1.785)))
bias_gen.add(gdstk.Reference(sky130_fd_pr__nfet_01v8_, (14.405,1.785)))
bias_gen.add(gdstk.Reference(sky130_fd_pr__nfet_01v8_, (18.635,1.785)))
bias_gen.add(gdstk.Reference(sky130_fd_pr__nfet_01v8_, (22.865,1.785)))
bias_gen.add(gdstk.Reference(sky130_fd_pr__nfet_01v8_, (27.095,1.785)))
bias_gen.add(gdstk.Reference(sky130_fd_pr__res_xhigh_, (31.595,5.45)))
bias_gen.add(gdstk.Reference(c_sky130_fd_pr__nfet_01v8_, (36.095,2.785)))
bias_gen.add(gdstk.Reference(c_sky130_fd_pr__nfet_01v8__, (39.825,0.995)))
bias_gen.add(gdstk.Reference(c_sky130_fd_pr__nfet_01v8__, (49.515,0.995)))
bias_gen.add(gdstk.Reference(c_sky130_fd_pr__nfet_01v8__, (46.285,0.995)))
bias_gen.add(gdstk.Reference(c_sky130_fd_pr__nfet_01v8__, (43.055,0.995)))
bias_gen.add(gdstk.Reference(sky130_fd_pr__pfet_01v8_, (6.845,21.43)))
bias_gen.add(gdstk.Reference(sky130_fd_pr__pfet_01v8_, (2.615,21.43)))
bias_gen.add(gdstk.Reference(c_sky130_fd_pr__pfet_01v8_, (23.535,20.64)))
bias_gen.add(gdstk.Reference(sky130_fd_pr__pfet_01v8_, (15.305,21.43)))
bias_gen.add(gdstk.Reference(sky130_fd_pr__pfet_01v8_, (11.075,21.43)))
bias_gen.add(gdstk.Reference(c_sky130_fd_pr__pfet_01v8_, (35.765,20.64)))
bias_gen.add(gdstk.Reference(c_sky130_fd_pr__pfet_01v8__, (49.955,20.85)))
bias_gen.add(gdstk.Reference(c_sky130_fd_pr__pfet_01v8___, (46.725,20.64)))
bias_gen.add(gdstk.Reference(c_sky130_fd_pr__pfet_01v8___, (43.495,20.64)))
bias_gen.add(gdstk.Label('pd', (-0.9,11.95), layer=70, texttype=5))
bias_gen.add(gdstk.Label('nbias', (52.07,14.65), layer=70, texttype=5))
bias_gen.add(gdstk.Label('pbias', (52.07,16.45), layer=70, texttype=5))
bias_gen.add(gdstk.Label('VGND', (0.8,0), layer=68, texttype=5))
bias_gen.add(gdstk.Label('VDPWR', (1.7,23.26), layer=68, texttype=5))

lib.write_gds('bias_gen.gds')
